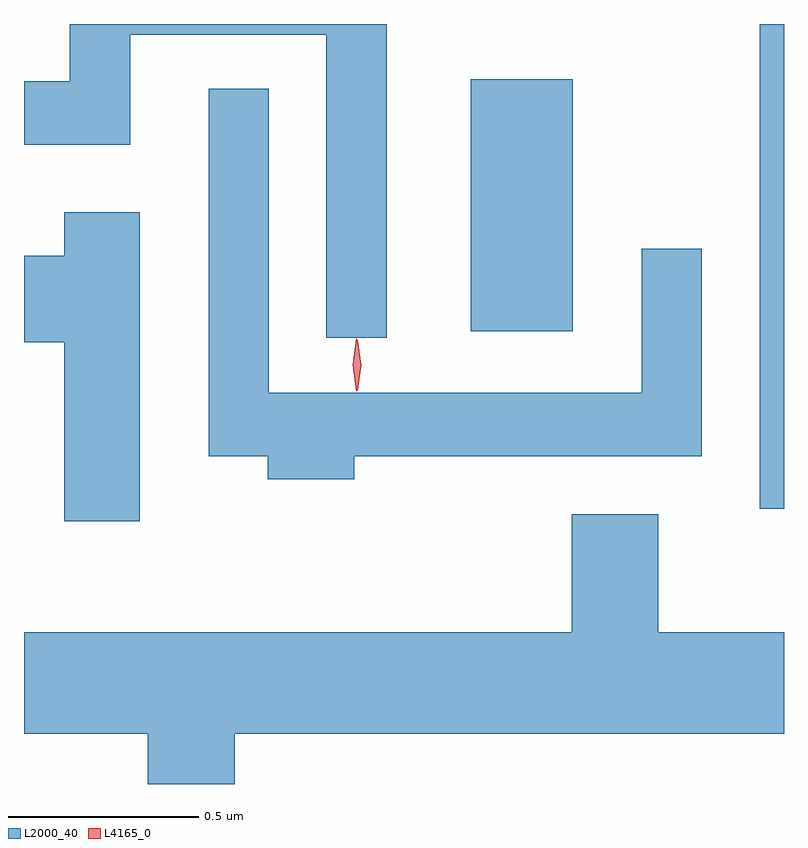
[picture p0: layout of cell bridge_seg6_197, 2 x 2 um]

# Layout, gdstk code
import gdstk
lib = gdstk.Library(unit=1e-6, precision=1e-09)
def R(c, l, rs):  # rectangles x0, y0, x1, y1
    for r in rs: c.add(gdstk.rectangle(r[:2], r[2:], *l))
def P(c, l, *ps):  # polygons
    for p in ps: c.add(gdstk.Polygon(p, *l))
L2000_40 = (2000, 40)
L4165_0 = (4165, 0)

bridge_seg6_197 = lib.new_cell('bridge_seg6_197')
R(bridge_seg6_197, L2000_40, [(1045.186,1575.048,1045.25,1576.324), (1044.426,1575.516,1044.694,1576.179)])
P(bridge_seg6_197, L2000_40, [(1044.204,1576.324),(1043.371,1576.324),(1043.371,1576.174),(1043.25,1576.174),(1043.25,1576.006),(1043.529,1576.006),(1043.529,1576.296),(1044.046,1576.296),(1044.046,1575.498),(1044.204,1575.498)],
  [(1044.119,1575.186),(1045.034,1575.186),(1045.034,1575.733),(1044.876,1575.733),(1044.876,1575.354),(1043.894,1575.354),(1043.894,1576.153),(1043.736,1576.153),(1043.736,1575.186),(1043.891,1575.186),(1043.891,1575.126),(1044.119,1575.126)],
  [(1043.554,1575.829),(1043.356,1575.829),(1043.356,1575.714),(1043.25,1575.714),(1043.25,1575.486),(1043.356,1575.486),(1043.356,1575.016),(1043.554,1575.016)],
  [(1043.804,1574.456),(1045.25,1574.456),(1045.25,1574.724),(1044.919,1574.724),(1044.919,1575.034),(1044.691,1575.034),(1044.691,1574.724),(1043.25,1574.724),(1043.25,1574.456),(1043.576,1574.456),(1043.576,1574.324),(1043.804,1574.324)])
P(bridge_seg6_197, L4165_0, [(1044.125,1575.357),(1044.124,1575.358),(1044.115,1575.427),(1044.124,1575.496),(1044.125,1575.496),(1044.126,1575.496),(1044.135,1575.427),(1044.126,1575.358)],
  [(1044.128,1575.359),(1044.127,1575.36),(1044.118,1575.426),(1044.127,1575.492),(1044.127,1575.493),(1044.128,1575.492),(1044.137,1575.426),(1044.128,1575.36)])

lib.write_gds('bridge_seg6_197.gds')
